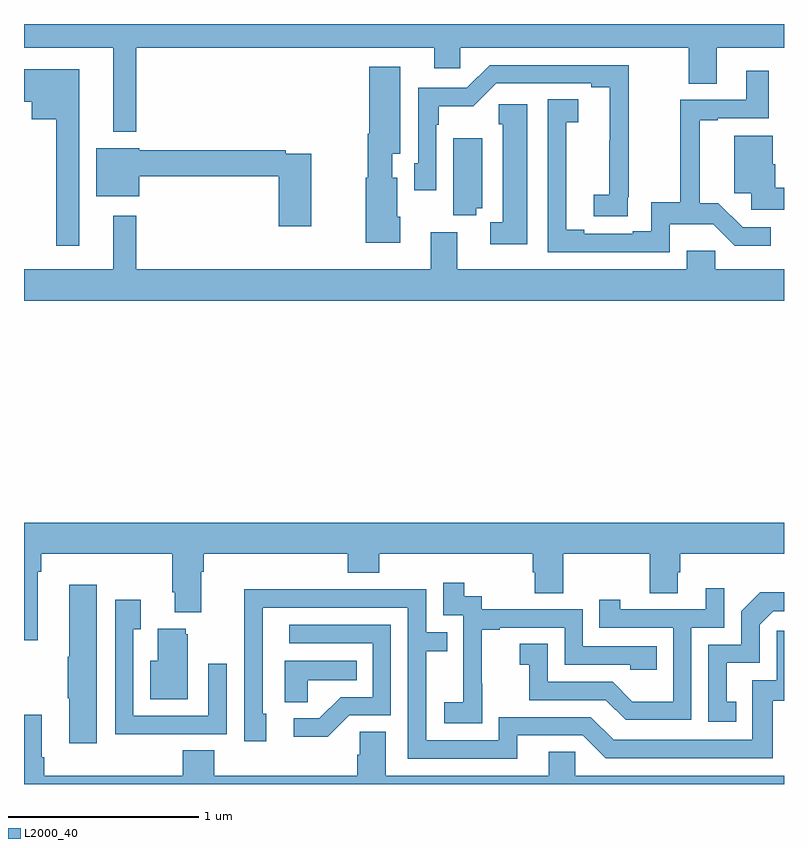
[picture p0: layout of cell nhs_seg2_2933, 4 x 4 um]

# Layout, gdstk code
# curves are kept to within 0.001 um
import gdstk
lib = gdstk.Library(unit=1e-6, precision=1e-09)
def P(c, l, *ps):  # polygons
    for p in ps: c.add(gdstk.Polygon(p, *l))
L2000_40 = (2000, 40)

nhs_seg2_2933 = lib.new_cell('nhs_seg2_2933')
P(nhs_seg2_2933, L2000_40, [(265.591,607.676),(267.158,607.676),(267.158,607.566),(267.297,607.566),(267.297,607.676),(268.498,607.676),(268.498,607.486),(268.645,607.486),(268.645,607.676),(269,607.676),(269,607.8),(265,607.8),(265,607.676),(265.469,607.676),(265.469,607.232),(265.591,607.232)],
  [(268.178,606.889),(268.184,606.889),(268.184,607.584),(267.45,607.584),(267.33,607.464),(267.075,607.464),(267.075,607.068),(267.054,607.068),(267.054,606.924),(267.171,606.924),(267.171,607.271),(267.184,607.271),(267.184,607.367),(267.365,607.367),(267.486,607.488),(267.986,607.488),(267.986,607.468),(268.082,607.468),(268.081,606.902),(267.999,606.902),(267.999,606.787),(268.178,606.787)],
  [(266.98,606.786),(266.964,606.786),(266.964,606.99),(266.938,606.99),(266.938,607.118),(266.98,607.118),(266.98,607.576),(266.816,607.576),(266.816,607.222),(266.809,607.222),(266.809,606.99),(266.798,606.99),(266.798,606.65),(266.98,606.65)],
  [(265.291,607.561),(265,607.561),(265,607.391),(265.04,607.391),(265.04,607.298),(265.17,607.298),(265.17,606.633),(265.291,606.633)],
  [(268.398,606.746),(268.627,606.746),(268.74,606.633),(268.93,606.633),(268.93,606.729),(268.782,606.729),(268.655,606.856),(268.556,606.856),(268.556,607.293),(268.651,607.293),(268.651,607.305),(268.919,607.305),(268.919,607.555),(268.802,607.555),(268.802,607.401),(268.453,607.401),(268.453,606.863),(268.302,606.863),(268.302,606.71),(268.205,606.71),(268.205,606.696),(267.949,606.696),(267.949,606.716),(267.853,606.716),(267.853,606.979),(267.855,606.979),(267.855,607.283),(267.916,607.283),(267.916,607.403),(267.756,607.403),(267.756,606.6),(268.398,606.6)],
  [(267.649,607.378),(267.499,607.378),(267.499,607.272),(267.521,607.272),(267.521,606.756),(267.453,606.756),(267.453,606.641),(267.649,606.641)],
  [(269,606.938),(268.955,606.938),(268.955,607.062),(268.942,607.062),(268.942,607.213),(268.739,607.213),(268.739,606.908),(268.827,606.908),(268.827,606.822),(269,606.822)],
  [(267.38,606.83),(267.412,606.83),(267.412,607.198),(267.26,607.198),(267.26,606.793),(267.38,606.793)],
  [(266.512,607.116),(266.378,607.116),(266.378,607.136),(265.606,607.136),(265.606,607.147),(265.379,607.147),(265.379,606.893),(265.606,606.893),(265.606,607),(266.342,607),(266.342,606.735),(266.512,606.735)],
  [(269,606.508),(268.639,606.508),(268.639,606.606),(268.487,606.606),(268.487,606.508),(267.28,606.508),(267.28,606.703),(267.14,606.703),(267.14,606.508),(265.591,606.508),(265.591,606.79),(265.469,606.79),(265.469,606.508),(265,606.508),(265,606.344),(269,606.344)],
  [(265.072,604.916),(265.091,604.916),(265.091,605.012),(265.781,605.012),(265.781,604.81),(265.793,604.81),(265.793,604.703),(265.933,604.703),(265.933,604.916),(265.946,604.916),(265.946,605.012),(266.705,605.012),(266.705,604.913),(266.87,604.913),(266.87,605.012),(267.677,605.012),(267.677,604.914),(267.689,604.914),(267.689,604.804),(267.837,604.804),(267.837,605.012),(268.294,605.012),(268.294,604.804),(268.441,604.804),(268.441,604.914),(268.454,604.914),(268.454,605.012),(269,605.012),(269,605.176),(265,605.176),(265,604.557),(265.072,604.557)],
  [(267.411,604.327),(267.41,604.327),(267.41,604.611),(267.505,604.611),(267.505,604.623),(267.846,604.623),(267.846,604.428),(268.191,604.428),(268.191,604.401),(268.331,604.401),(268.331,604.524),(267.942,604.524),(267.942,604.719),(267.408,604.719),(267.408,604.788),(267.316,604.788),(267.316,604.858),(267.207,604.858),(267.207,604.689),(267.312,604.689),(267.312,604.46),(267.311,604.46),(267.311,604.231),(267.213,604.231),(267.213,604.121),(267.411,604.121)],
  [(265.384,604.849),(265.238,604.849),(265.238,604.469),(265.231,604.469),(265.231,604.252),(265.238,604.252),(265.238,604.014),(265.384,604.014)],
  [(268.512,604.623),(268.686,604.623),(268.686,604.831),(268.589,604.831),(268.589,604.719),(268.138,604.719),(268.138,604.771),(268.027,604.771),(268.027,604.623),(268.416,604.623),(268.416,604.234),(268.202,604.234),(268.098,604.338),(267.756,604.338),(267.756,604.537),(267.609,604.537),(267.609,604.427),(267.658,604.427),(267.658,604.242),(268.061,604.242),(268.166,604.137),(268.512,604.137)],
  [(267.595,604.056),(267.942,604.056),(268.062,603.936),(268.942,603.936),(268.942,604.239),(269,604.239),(269,604.606),(268.962,604.606),(268.962,604.347),(268.833,604.347),(268.833,604.032),(268.104,604.032),(267.984,604.152),(267.498,604.152),(267.498,604.029),(267.117,604.029),(267.117,604.498),(267.227,604.498),(267.227,604.599),(267.117,604.599),(267.117,604.824),(266.621,604.824),(266.621,604.826),(266.158,604.826),(266.158,604.519),(266.16,604.519),(266.16,604.026),(266.275,604.026),(266.275,604.17),(266.256,604.17),(266.256,604.728),(267.021,604.728),(267.021,603.933),(267.595,603.933)],
  [(268.748,604.233),(268.699,604.233),(268.699,604.437),(268.872,604.437),(268.872,604.638),(268.944,604.71),(269,604.71),(269,604.808),(268.874,604.808),(268.776,604.71),(268.776,604.533),(268.602,604.533),(268.602,604.128),(268.748,604.128)],
  [(265.751,604.062),(266.067,604.062),(266.067,604.432),(265.971,604.432),(265.971,604.158),(265.575,604.158),(265.575,604.615),(265.615,604.615),(265.615,604.771),(265.479,604.771),(265.479,604.061),(265.751,604.061)],
  [(266.712,604.161),(266.931,604.161),(266.931,604.638),(266.397,604.638),(266.397,604.542),(266.835,604.542),(266.835,604.257),(266.666,604.257),(266.555,604.146),(266.421,604.146),(266.421,604.049),(266.599,604.049)],
  [(265.861,604.587),(265.85,604.587),(265.85,604.618),(265.703,604.618),(265.703,604.45),(265.664,604.45),(265.664,604.247),(265.861,604.247)],
  [(266.493,604.346),(266.75,604.346),(266.75,604.45),(266.372,604.45),(266.372,604.231),(266.493,604.231)],
  [(269,603.844),(267.9,603.844),(267.9,603.971),(267.761,603.971),(267.761,603.844),(266.905,603.844),(266.905,604.076),(266.766,604.076),(266.766,603.953),(266.753,603.953),(266.753,603.844),(266,603.844),(266,603.977),(265.835,603.977),(265.835,603.844),(265.106,603.844),(265.106,603.94),(265.093,603.94),(265.093,604.165),(265,604.165),(265,603.8),(269,603.8)])

lib.write_gds('nhs_seg2_2933.gds')
